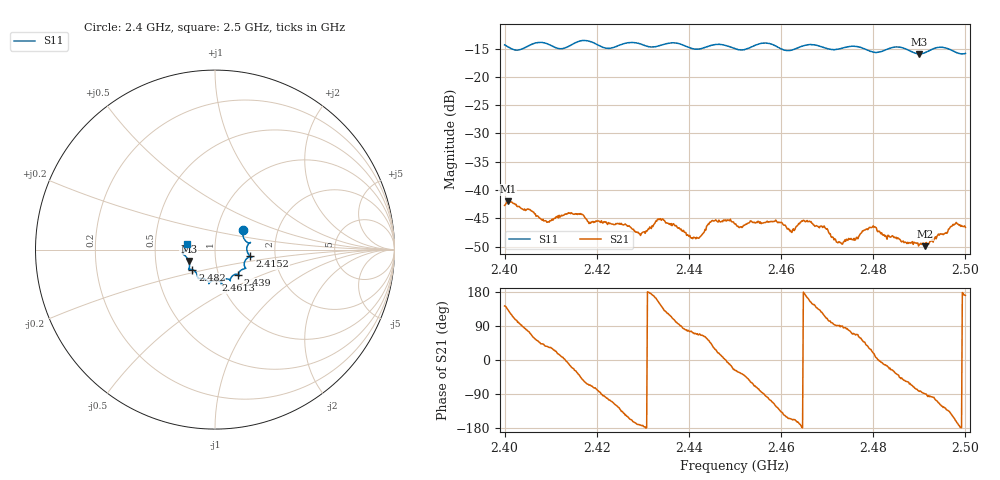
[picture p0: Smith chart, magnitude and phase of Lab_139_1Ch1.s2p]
# Hz S RI R 50
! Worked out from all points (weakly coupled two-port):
!   601 points, 2.4 GHz to 2.5 GHz, reference 50 ohm
!   highest |S21| = -41.99 dB at 2.4007 GHz (marker M1); lowest = -49.9 dB at 2.4912 GHz (marker M2)
!   lowest |S11| = -16.0 dB at 2.49 GHz (marker M3), VSWR 1.38, Z = 37 - j4.81 ohm
!   |S11| at or under -10 dB: start of sweep to end of sweep
!   S12 and S22 are empty: the file has one direction only
!   S11 on the Smith chart (normalised r, x): 2.4 GHz: 1.33, +0.31; 2.4152 GHz: 1.48, -0.11; 2.439 GHz: 1.24, -0.36; 2.4613 GHz: 0.96, -0.34; 2.482 GHz: 0.76, -0.17; 2.5 GHz: 0.73, +0.05
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2.4e9  0.1563 0.1109  -0.00581 0.00444  0 0  0 0
2.400667e9  0.1549 0.1011  -0.00548 0.00576  0 0  0 0
2.409167e9  0.1928 0.0378  0.00418 0.00305  0 0  0 0
2.415167e9  0.1949 -0.0366  0.00543 -0.00278  0 0  0 0
2.416667e9  0.2044 -0.0425  0.00405 -0.00453  0 0  0 0
2.429333e9  0.1649 -0.1058  -0.00406 -0.000605  0 0  0 0
2.433333e9  0.1325 -0.1323  -0.00497 0.00245  0 0  0 0
2.439e9  0.1281 -0.1389  0.000585 0.00419  0 0  0 0
2.441833e9  0.1001 -0.1441  0.00132 0.00354  0 0  0 0
2.445333e9  0.0844 -0.1722  0.00447 0.00287  0 0  0 0
2.45e9  0.0686 -0.1634  0.00445 -0.00228  0 0  0 0
2.456667e9  0.0391 -0.1952  -0.000469 -0.00514  0 0  0 0
2.461333e9  0.0072 -0.1703  -0.00396 -0.00221  0 0  0 0
2.466667e9  -0.0334 -0.1897  -0.00436 0.00261  0 0  0 0
2.472833e9  -0.076 -0.1602  0.000143 0.00342  0 0  0 0
2.4795e9  -0.1035 -0.1318  0.00412 0.00217  0 0  0 0
2.482e9  -0.1261 -0.1117  0.00397 -0.000559  0 0  0 0
2.483333e9  -0.1393 -0.1097  0.00374 -0.00131  0 0  0 0
2.49e9  -0.1463 -0.0633  0.000413 -0.00328  0 0  0 0
2.491167e9  -0.1564 -0.0459  7.25e-05 -0.00319  0 0  0 0
2.497667e9  -0.1667 -0.00472  -0.00453 -0.00209  0 0  0 0
2.5e9  -0.1575 0.033  -0.00461 0.000773  0 0  0 0
